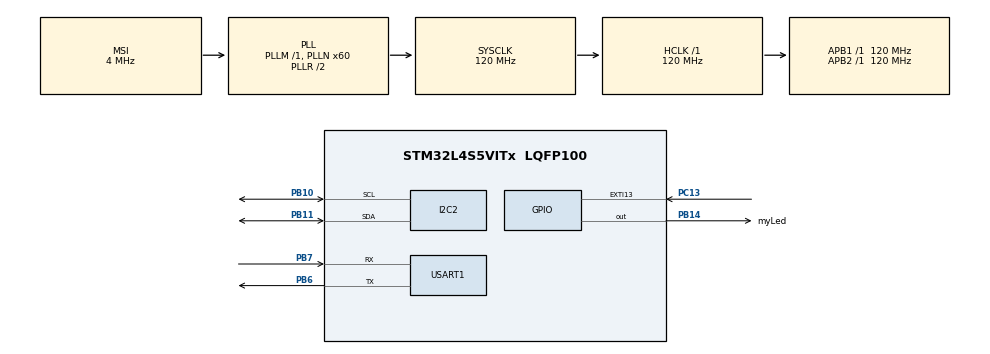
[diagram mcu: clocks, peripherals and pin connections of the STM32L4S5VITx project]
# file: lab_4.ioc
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ADC1.EnableRegularConversion=DISABLE
ADC1.master=1
FREERTOS.Tasks01=defaultTask,0,128,StartDefaultTask,Default,NULL,Dynamic,NULL,NULL;myButtonTask,-3,128,pollButton,Default,NULL,Dynamic,NULL,NULL;myReadingsTask,-3,128,readInput,Default,NULL,Dynamic,NULL,NULL
I2C2.CustomTiming=Disabled
I2C2.Timing=0x307075B1
Mcu.Family=STM32L4
Mcu.Name=STM32L4S5VITx
Mcu.Package=LQFP100
NVIC.EXTI15_10_IRQn=true\:5\:0\:false\:false\:true\:true\:true\:true\:true
NVIC.PriorityGroup=NVIC_PRIORITYGROUP_4
NVIC.TIM2_IRQn=true\:5\:0\:false\:false\:true\:true\:true\:true\:true
NVIC.TIM6_DAC_IRQn=true\:15\:0\:false\:false\:true\:false\:false\:true\:true
NVIC.TimeBase=TIM6_DAC_IRQn
NVIC.TimeBaseIP=TIM6
PA13\ (JTMS/SWDIO).Signal=SYS_JTMS-SWDIO
PB10.Mode=I2C
PB10.Signal=I2C2_SCL
PB11.Mode=I2C
PB11.Signal=I2C2_SDA
PB14.GPIO_Label=myLed
PB14.Signal=GPIO_Output
PB3\ (JTDO/TRACESWO).Signal=SYS_JTDO-SWO
PB6.Mode=Asynchronous
PB6.Signal=USART1_TX
PB7.Mode=Asynchronous
PB7.Signal=USART1_RX
PC13.Signal=GPXTI13
ProjectManager.HeapSize=0x200
ProjectManager.StackSize=0x400
ProjectManager.TargetToolchain=STM32CubeIDE
RCC.ADCFreq_Value=32000000
RCC.AHBFreq_Value=120000000
RCC.APB1Freq_Value=120000000
RCC.APB1TimFreq_Value=120000000
RCC.APB2Freq_Value=120000000
RCC.APB2TimFreq_Value=120000000
RCC.CortexFreq_Value=120000000
RCC.HCLKFreq_Value=120000000
RCC.HSE_VALUE=8000000
RCC.HSI48_VALUE=48000000
RCC.HSI_VALUE=16000000
RCC.LSE_VALUE=32768
RCC.MSI_VALUE=4000000
RCC.PLLN=60
RCC.PLLSAI1N=16
RCC.SYSCLKFreq_VALUE=120000000
RCC.SYSCLKSource=RCC_SYSCLKSOURCE_PLLCLK
RCC.USBFreq_Value=32000000
RCC.VCOOutputFreq_Value=240000000
TIM2.Period=1000
TIM2.Prescaler=120
TIM2.TIM_MasterOutputTrigger=TIM_TRGO_RESET
USART1.VirtualMode-Asynchronous=VM_ASYNC
VP_ADC1_TempSens_Input.Mode=IN-TempSens
VP_FREERTOS_VS_CMSIS_V1.Mode=CMSIS_V1
VP_SYS_VS_tim6.Mode=TIM6
VP_TIM2_VS_ClockSourceINT.Mode=Internal
board=B-L4S5I-IOT01A

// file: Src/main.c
/* USER CODE BEGIN Header */
/**
  ******************************************************************************
  * @file           : main.c
  * @brief          : Main program body
  ******************************************************************************
  * @attention
  *
  * Copyright (c) 2023 STMicroelectronics.
  * All rights reserved.
  *
  * This software is licensed under terms that can be found in the LICENSE file
  * in the root directory of this software component.
  * If no LICENSE file comes with this software, it is provided AS-IS.
  *
  ******************************************************************************
  */
/* USER CODE END Header */
#include "main.h"
#include "cmsis_os.h"

/* USER CODE BEGIN Includes */
#include <math.h>
#define ARM_MATH_CM4
#include "arm_math.h"
#include <stdio.h>
#include "stm32l4s5i_iot01_tsensor.h"
#include "stm32l4s5i_iot01.h"
#include "stm32l4s5i_iot01_gyro.h"
#include "stm32l4s5i_iot01_hsensor.h"
#include "stm32l4s5i_iot01_magneto.h"
#include "stm32l4s5i_iot01_psensor.h"

//#include "stm32l4xx_hal_adc_ex.h"

/* USER CODE END Includes */

ADC_HandleTypeDef hadc1;

I2C_HandleTypeDef hi2c2;

TIM_HandleTypeDef htim2;

UART_HandleTypeDef huart1;

osThreadId defaultTaskHandle;
osThreadId myButtonTaskHandle;
osThreadId myReadingsTaskHandle;
/* USER CODE BEGIN PV */

int selector = 0;

float temp_value;
float hum_value;
float mag_xyz[3];
float acc_xyz[3];
float gyro_xyz[3];
float baro_value;
float tof_value;
float gest_value;
char buffer[100] = ""; // used for COM communication
int enableSelector = 0;

/*
 * The following arrays are for a frequency of 65Hz, and an amplitude of 1V.
 * To adjust the amplitude, just multiply each element by a desired amplitude, A.
 */
int triangleArray[15] = {0, 530, 1060, 1590, 2120, 2650, 3180, 3710, 3180, 2650, 2120, 1590, 1060, 530, 0};
int sawtoothArray[15] = { 0,  270,  540,  810, 1080, 1350, 1620, 1890, 2160, 2430, 2700, 2970, 3240, 3510,3780};

/* USER CODE END PV */

void SystemClock_Config(void);
static void MX_GPIO_Init(void);
static void MX_ADC1_Init(void);
static void MX_TIM2_Init(void);
static void MX_I2C2_Init(void);
static void MX_USART1_UART_Init(void);
void StartDefaultTask(void const * argument);
void pollButton(void const * argument);
void readInput(void const * argument);

/* USER CODE BEGIN PFP */
void configure_channels(int i);

/* USER CODE END PFP */

/* USER CODE BEGIN 0 */

#define VREFINT ((uint16_t*)(uint32_t)0x1FFF75AA)
#define TS_CAL1 ((uint16_t*)(uint32_t)0x1FFF75A8) //TS ADC raw data acquired at a temperature of 30 °C  (AROUND 3 V)
#define TS_CAL2 ((uint16_t*)(uint32_t)0x1FFF75CA) //TS ADC raw data acquired at a temperature of 130 °C

#define TS_CAL1_TEMP ((float)30.0) //temp used to measure TS_CAL1
#define TS_CAL2_TEMP ((float) 130.0) //temp used to measure TS_CAL2

//conditional compiling

//#define I2C_TEST
//#define UART_TEST
#define BUTTON_TEST
//#define RTOS_TEST

/* USER CODE END 0 */

int main(void)
{

  /* MCU Configuration--------------------------------------------------------*/

  /* Reset of all peripherals, Initializes the Flash interface and the Systick. */
  HAL_Init();

  /* Configure the system clock */
  SystemClock_Config();

  /* Initialize all configured peripherals */
  MX_GPIO_Init();
  MX_ADC1_Init();
  MX_TIM2_Init();
  MX_I2C2_Init();
  MX_USART1_UART_Init();
  /* USER CODE BEGIN 2 */

  selector = 0; //initialize selector

  //initialize sensors
  BSP_TSENSOR_Init();
  BSP_HSENSOR_Init();
  BSP_MAGNETO_Init();
  BSP_ACCELERO_Init();
  BSP_GYRO_Init();
  BSP_PSENSOR_Init();

#ifdef RTOS_TEST
  /* USER CODE END 2 */

  /* Create the thread(s) */
  /* definition and creation of defaultTask */
  osThreadDef(defaultTask, StartDefaultTask, osPriorityNormal, 0, 128);
  defaultTaskHandle = osThreadCreate(osThread(defaultTask), NULL);

  /* definition and creation of myButtonTask */
  osThreadDef(myButtonTask, pollButton, osPriorityIdle, 0, 128);
  myButtonTaskHandle = osThreadCreate(osThread(myButtonTask), NULL);

  /* definition and creation of myReadingsTask */
  osThreadDef(myReadingsTask, readInput, osPriorityIdle, 0, 128);
  myReadingsTaskHandle = osThreadCreate(osThread(myReadingsTask), NULL);

  /* Start scheduler */
  osKernelStart();

  /* We should never get here as control is now taken by the scheduler */
  /* Infinite loop */
  /* USER CODE BEGIN WHILE */
  // HAL_TIM_Base_Start_IT(&htim6); // unsure of this line of code
#endif

#ifdef BUTTON_TEST
  HAL_TIM_Base_Start_IT(&htim2);
#endif
  while (1)
  {

    /* USER CODE END WHILE */

    /* USER CODE BEGIN 3 */
#ifdef I2C_TEST
	  temp_value = BSP_TSENSOR_ReadTemp();
	  hum_value = BSP_HSENSOR_ReadHumidity();
	  baro_value = BSP_PSENSOR_ReadPressure();
	  BSP_MAGNETO_GetXYZ(mag_xyz);
	  BSP_ACCELERO_AccGetXYZ(acc_xyz);
	  BSP_GYRO_GetXYZ(gyro_xyz);
#else
	#ifdef UART_TEST
		  temp_value = BSP_TSENSOR_ReadTemp();
		  hum_value = BSP_HSENSOR_ReadHumidity();
		  baro_value = BSP_PSENSOR_ReadPressure();
		  BSP_MAGNETO_GetXYZ(mag_xyz);
		  BSP_ACCELERO_AccGetXYZ(acc_xyz);
		  BSP_GYRO_GetXYZ(gyro_xyz);
	#endif
#endif

//	  tof_value = 0;
//	  gest_value = 0;

#ifdef I2C_TEST
	  printf("temperature: %f\n", temp_value);
	  printf("humidity: %f\n", hum_value);
	  printf("barometer: %f\n", baro_value);

	  printf("magnetometer: x: %f, y: %f, z: %f \n", mag_xyz[0], mag_xyz[1], mag_xyz[0]);
	  printf("accelerator:  x: %f, y: %f, z: %f \n", acc_xyz[0], acc_xyz[1], acc_xyz[0]);
	  printf("gyroscope:  x: %f, y: %f, z: %f \n", gyro_xyz[0], gyro_xyz[1], gyro_xyz[0]);
#endif
//	  printf("--------------------\n");
//
//	  printf("time of flight sensor value: %f\n", tof_value);
//	  printf("gesture detection sensor value: %f\n", gest_value);
#ifdef UART_TEST
	  int tmpInt1 = temp_value;
	  float tmpFrac = temp_value - tmpInt1;
	  int tmpInt2 = trunc(tmpFrac * 100);
	  snprintf(str_tmp,100,"TEMPERATURE = %d.%0.2d\n\r", tmpInt1, tmpInt2);
	  HAL_UART_Transmit(&huart1, (uint8_t *)str_tmp,sizeof(str_tmp), 1000);
#endif

	  //HAL_Delay(100);
  }

  /* USER CODE END 3 */
}

void SystemClock_Config(void)
{
  RCC_OscInitTypeDef RCC_OscInitStruct = {0};
  RCC_ClkInitTypeDef RCC_ClkInitStruct = {0};

  /** Configure the main internal regulator output voltage
  */
  if (HAL_PWREx_ControlVoltageScaling(PWR_REGULATOR_VOLTAGE_SCALE1_BOOST) != HAL_OK)
  {
    Error_Handler();
  }

  /** Initializes the RCC Oscillators according to the specified parameters
  * in the RCC_OscInitTypeDef structure.
  */
  RCC_OscInitStruct.OscillatorType = RCC_OSCILLATORTYPE_MSI;
  RCC_OscInitStruct.MSIState = RCC_MSI_ON;
  RCC_OscInitStruct.MSICalibrationValue = 0;
  RCC_OscInitStruct.MSIClockRange = RCC_MSIRANGE_6;
  RCC_OscInitStruct.PLL.PLLState = RCC_PLL_ON;
  RCC_OscInitStruct.PLL.PLLSource = RCC_PLLSOURCE_MSI;
  RCC_OscInitStruct.PLL.PLLM = 1;
  RCC_OscInitStruct.PLL.PLLN = 60;
  RCC_OscInitStruct.PLL.PLLP = RCC_PLLP_DIV2;
  RCC_OscInitStruct.PLL.PLLQ = RCC_PLLQ_DIV2;
  RCC_OscInitStruct.PLL.PLLR = RCC_PLLR_DIV2;
  if (HAL_RCC_OscConfig(&RCC_OscInitStruct) != HAL_OK)
  {
    Error_Handler();
  }

  /** Initializes the CPU, AHB and APB buses clocks
  */
  RCC_ClkInitStruct.ClockType = RCC_CLOCKTYPE_HCLK|RCC_CLOCKTYPE_SYSCLK
                              |RCC_CLOCKTYPE_PCLK1|RCC_CLOCKTYPE_PCLK2;
  RCC_ClkInitStruct.SYSCLKSource = RCC_SYSCLKSOURCE_PLLCLK;
  RCC_ClkInitStruct.AHBCLKDivider = RCC_SYSCLK_DIV1;
  RCC_ClkInitStruct.APB1CLKDivider = RCC_HCLK_DIV1;
  RCC_ClkInitStruct.APB2CLKDivider = RCC_HCLK_DIV1;

  if (HAL_RCC_ClockConfig(&RCC_ClkInitStruct, FLASH_LATENCY_5) != HAL_OK)
  {
    Error_Handler();
  }
}

static void MX_ADC1_Init(void)
{

  /** Common config
  */
  hadc1.Instance = ADC1;
  hadc1.Init.ClockPrescaler = ADC_CLOCK_ASYNC_DIV1;
  hadc1.Init.Resolution = ADC_RESOLUTION_12B;
  hadc1.Init.DataAlign = ADC_DATAALIGN_RIGHT;
  hadc1.Init.ScanConvMode = ADC_SCAN_DISABLE;
  hadc1.Init.EOCSelection = ADC_EOC_SINGLE_CONV;
  hadc1.Init.LowPowerAutoWait = DISABLE;
  hadc1.Init.ContinuousConvMode = DISABLE;
  hadc1.Init.NbrOfConversion = 1;
  hadc1.Init.DiscontinuousConvMode = DISABLE;
  hadc1.Init.DMAContinuousRequests = DISABLE;
  hadc1.Init.Overrun = ADC_OVR_DATA_PRESERVED;
  hadc1.Init.OversamplingMode = DISABLE;
  hadc1.Init.DFSDMConfig = ADC_DFSDM_MODE_ENABLE;
  if (HAL_ADC_Init(&hadc1) != HAL_OK)
  {
    Error_Handler();
  }

}

static void MX_I2C2_Init(void)
{

  hi2c2.Instance = I2C2;
  hi2c2.Init.Timing = 0x307075B1;
  hi2c2.Init.OwnAddress1 = 0;
  hi2c2.Init.AddressingMode = I2C_ADDRESSINGMODE_7BIT;
  hi2c2.Init.DualAddressMode = I2C_DUALADDRESS_DISABLE;
  hi2c2.Init.OwnAddress2 = 0;
  hi2c2.Init.OwnAddress2Masks = I2C_OA2_NOMASK;
  hi2c2.Init.GeneralCallMode = I2C_GENERALCALL_DISABLE;
  hi2c2.Init.NoStretchMode = I2C_NOSTRETCH_DISABLE;
  if (HAL_I2C_Init(&hi2c2) != HAL_OK)
  {
    Error_Handler();
  }

  /** Configure Analogue filter
  */
  if (HAL_I2CEx_ConfigAnalogFilter(&hi2c2, I2C_ANALOGFILTER_ENABLE) != HAL_OK)
  {
    Error_Handler();
  }

  /** Configure Digital filter
  */
  if (HAL_I2CEx_ConfigDigitalFilter(&hi2c2, 0) != HAL_OK)
  {
    Error_Handler();
  }

}

static void MX_TIM2_Init(void)
{

  TIM_ClockConfigTypeDef sClockSourceConfig = {0};
  TIM_MasterConfigTypeDef sMasterConfig = {0};

  htim2.Instance = TIM2;
  htim2.Init.Prescaler = 120;
  htim2.Init.CounterMode = TIM_COUNTERMODE_UP;
  htim2.Init.Period = 1000;
  htim2.Init.ClockDivision = TIM_CLOCKDIVISION_DIV1;
  htim2.Init.AutoReloadPreload = TIM_AUTORELOAD_PRELOAD_DISABLE;
  if (HAL_TIM_Base_Init(&htim2) != HAL_OK)
  {
    Error_Handler();
  }
  sClockSourceConfig.ClockSource = TIM_CLOCKSOURCE_INTERNAL;
  if (HAL_TIM_ConfigClockSource(&htim2, &sClockSourceConfig) != HAL_OK)
  {
    Error_Handler();
  }
  sMasterConfig.MasterOutputTrigger = TIM_TRGO_RESET;
  sMasterConfig.MasterSlaveMode = TIM_MASTERSLAVEMODE_DISABLE;
  if (HAL_TIMEx_MasterConfigSynchronization(&htim2, &sMasterConfig) != HAL_OK)
  {
    Error_Handler();
  }

}

static void MX_USART1_UART_Init(void)
{

  huart1.Instance = USART1;
  huart1.Init.BaudRate = 115200;
  huart1.Init.WordLength = UART_WORDLENGTH_8B;
  huart1.Init.StopBits = UART_STOPBITS_1;
  huart1.Init.Parity = UART_PARITY_NONE;
  huart1.Init.Mode = UART_MODE_TX_RX;
  huart1.Init.HwFlowCtl = UART_HWCONTROL_NONE;
  huart1.Init.OverSampling = UART_OVERSAMPLING_16;
  huart1.Init.OneBitSampling = UART_ONE_BIT_SAMPLE_DISABLE;
  huart1.Init.ClockPrescaler = UART_PRESCALER_DIV1;
  huart1.AdvancedInit.AdvFeatureInit = UART_ADVFEATURE_NO_INIT;
  if (HAL_UART_Init(&huart1) != HAL_OK)
  {
    Error_Handler();
  }
  if (HAL_UARTEx_SetTxFifoThreshold(&huart1, UART_TXFIFO_THRESHOLD_1_8) != HAL_OK)
  {
    Error_Handler();
  }
  if (HAL_UARTEx_SetRxFifoThreshold(&huart1, UART_RXFIFO_THRESHOLD_1_8) != HAL_OK)
  {
    Error_Handler();
  }
  if (HAL_UARTEx_DisableFifoMode(&huart1) != HAL_OK)
  {
    Error_Handler();
  }

}

static void MX_GPIO_Init(void)
{
  GPIO_InitTypeDef GPIO_InitStruct = {0};

  /* GPIO Ports Clock Enable */
  __HAL_RCC_GPIOC_CLK_ENABLE();
  __HAL_RCC_GPIOB_CLK_ENABLE();
  __HAL_RCC_GPIOA_CLK_ENABLE();

  /*Configure GPIO pin Output Level */
  HAL_GPIO_WritePin(myLed_GPIO_Port, myLed_Pin, GPIO_PIN_RESET);

  /*Configure GPIO pin : PC13 */
  GPIO_InitStruct.Pin = GPIO_PIN_13;
  GPIO_InitStruct.Mode = GPIO_MODE_IT_RISING;
  GPIO_InitStruct.Pull = GPIO_NOPULL;
  HAL_GPIO_Init(GPIOC, &GPIO_InitStruct);

  /*Configure GPIO pin : myLed_Pin */
  GPIO_InitStruct.Pin = myLed_Pin;
  GPIO_InitStruct.Mode = GPIO_MODE_OUTPUT_PP;
  GPIO_InitStruct.Pull = GPIO_NOPULL;
  GPIO_InitStruct.Speed = GPIO_SPEED_FREQ_LOW;
  HAL_GPIO_Init(myLed_GPIO_Port, &GPIO_InitStruct);

  /* EXTI interrupt init*/
  HAL_NVIC_SetPriority(EXTI15_10_IRQn, 5, 0);
  HAL_NVIC_EnableIRQ(EXTI15_10_IRQn);

}

/* USER CODE BEGIN 4 */

//callback function for interrupt
void HAL_GPIO_EXTI_Callback(uint16_t GPIO_Pin){
	if (GPIO_Pin == GPIO_PIN_13) { //verify pin
		HAL_GPIO_TogglePin (myLed_GPIO_Port, myLed_Pin);
#ifdef BUTTON_TEST
		printf("======================\n");
		printf("\n");
		printf("Switching...\n");
		printf("\n");
		printf("======================\n");
		selector++;
		// if selector is out of range, re-initialize to 0.
		if (selector > 3) {
			selector = 0;
		}
#endif
#ifdef RTOS_TEST
		enableSelector = 1;
#endif
	}
}

//function for printing to console (swb port 0)
int _write(int file, char *ptr, int len)
{
  (void)file;
  int DataIdx;

  for (DataIdx = 0; DataIdx < len; DataIdx++)
  {
	  ITM_SendChar(*ptr++);
  }
  return len;
}

#ifdef RTOS_TEST
/* USER CODE END 4 */

void StartDefaultTask(void const * argument)
{
  for(;;)
  {
    osDelay(1);
  }
}

void pollButton(void const * argument)
{
  /* USER CODE BEGIN pollButton */
  /* Infinite loop */
  for(;;)
  {
	  osDelay(1);
//	  uint16_t GPIO_Pin;
//	  if (GPIO_Pin == GPIO_PIN_13) { //verify pin
//	  		HAL_GPIO_TogglePin (myLed_GPIO_Port, myLed_Pin);
//
//	  		// if selector is out of range, re-initialize to 0.
//	  		selector++;
//	  		if (selector > 5) {
//	  			selector = 0;
//	  		}
//	  	  }
	  if (enableSelector == 1) {
		  enableSelector = 0;
		  selector++;
		  if (selector > 3) {
			  selector = 0;
		  }
	  }
  }
  /* USER CODE END pollButton */
}

void readInput(void const * argument)
{
  /* USER CODE BEGIN readInput */
  /* Infinite loop */
  for(;;)
  {
	  osDelay(100);

	  switch(selector) {
	  		case 0:
	  			temp_value = BSP_TSENSOR_ReadTemp();
	  			int tmpInt1 = temp_value;
	  			float tmpFrac = temp_value - tmpInt1;
	  			int tmpInt2 = trunc(tmpFrac * 100);
	  			snprintf(buffer, 100, "TEMPERATURE: %d.%02d degrees\n\r", tmpInt1, tmpInt2);
	  			HAL_UART_Transmit(&huart1, (uint8_t *)buffer, strlen(buffer), HAL_MAX_DELAY);
	  			break;
	  		case 1:
	  			hum_value = BSP_HSENSOR_ReadHumidity();
	  			int humInt1 = hum_value;
	  			float humFrac = hum_value - tmpInt1;
	  			int humInt2 = trunc(humFrac * 100);
				snprintf(buffer, 100, "HUMIDITY: %d.%02d %\n\r", humInt1, humInt2);
	  			HAL_UART_Transmit(&huart1, (uint8_t *)buffer, strlen(buffer), HAL_MAX_DELAY);
	  			break;
	  		case 2:
	  			baro_value = BSP_PSENSOR_ReadPressure();
	  			int baroInt1 = baro_value;
	  			float baroFrac = baro_value - baroInt1;
	  			int baroInt2 = trunc(baroFrac * 100);
	  			snprintf(buffer, 100, "PRESSURE: %d.%02d Pa\n\r", baroInt1, baroInt2);
	  			HAL_UART_Transmit(&huart1, (uint8_t *)buffer, strlen(buffer), HAL_MAX_DELAY);
	  			break;
//	  		case 3:
//	  			BSP_MAGNETO_GetXYZ(mag_xyz);
//	  			int magX1 = mag_xyz[0];
//	  			int magX2 = trunc((mag_xyz[0]-(int)mag_xyz[0])*100);
//	  			int magY1 = mag_xyz[1];
//	  		    int magY2 = trunc((mag_xyz[1]-(int)mag_xyz[1])*100);
//	  		    int magZ1 = mag_xyz[2];
//	  		  	int magZ2 = trunc((mag_xyz[2]-(int)mag_xyz[2])*100);
//	  		    snprintf(buffer, 100, "MAGNETIC FIELD STRENGHT: %d.%02d, %d.%02d, %d.%02d GAUSS.\n\r", magX1, magX2, magY1, magY2, magZ1, magZ2);
//	  		  	HAL_UART_Transmit(&huart1, (uint8_t *)buffer, strlen(buffer), HAL_MAX_DELAY);
//	  			break;
//	  		case 4:
//	  			BSP_ACCELERO_AccGetXYZ(acc_xyz);
//	  			int accX1 = acc_xyz[0];
//	  			int accX2 = trunc((acc_xyz[0]-(int)acc_xyz[0])*100);
//	  			int accY1 = acc_xyz[1];
//	  			int accY2 = trunc((acc_xyz[1]-(int)acc_xyz[1])*100);
//	  			int accZ1 = acc_xyz[2];
//	  			int accZ2 = trunc((acc_xyz[2]-(int)acc_xyz[2])*100);
//	  			snprintf(buffer, 100, "ACCELERATION: %d.%02d, %d.%02d, %d.%02d\n\r", accX1, accX2, accY1, accY2, accZ1, accZ2);
//	  			HAL_UART_Transmit(&huart1, (uint8_t *)buffer, strlen(buffer), HAL_MAX_DELAY);
//	  			break;
	  		case 3:
	  			BSP_GYRO_GetXYZ(gyro_xyz);
	  			int gyroX1 = gyro_xyz[0];
	  			int gyroX2 = trunc((gyro_xyz[0]-(int)gyro_xyz[0])*100);
	  			int gyroY1 = gyro_xyz[1];
	  			int gyroY2 = trunc((gyro_xyz[1]-(int)gyro_xyz[1])*100);
	  			int gyroZ1 = gyro_xyz[2];
	  			int gyroZ2 = trunc((gyro_xyz[2]-(int)gyro_xyz[2])*100);
	  			snprintf(buffer, 100, "ANGULAR VELOCITY: %d.%02d, %d.%02d, %d.%02d Deg/s\n\r", gyroX1, gyroX2, gyroY1, gyroY2, gyroZ1, gyroZ2);
	  			HAL_UART_Transmit(&huart1, (uint8_t *)buffer, strlen(buffer), HAL_MAX_DELAY);
	  			break;
	  		default:
	  			//printf("Selector not in range. Error.\n");
	  			break;
	  		}
  }
  /* USER CODE END readInput */
}

#endif

void HAL_TIM_PeriodElapsedCallback(TIM_HandleTypeDef *htim)
{
  /* USER CODE BEGIN Callback 0 */
#ifdef RTOS_TEST
  /* USER CODE END Callback 0 */
  if (htim->Instance == TIM6) {
    HAL_IncTick();
  }
  /* USER CODE BEGIN Callback 1 */
#endif
#ifdef BUTTON_TEST
  if (htim->Instance == TIM2) {
	  switch(selector) {
	  	  		case 0:
	  	  			temp_value = BSP_TSENSOR_ReadTemp();
	  	  			printf("temperature: %f\n", temp_value);
	  	  			break;
	  	  		case 1:
	  	  			hum_value = BSP_HSENSOR_ReadHumidity();
	  	  			printf("humidity: %f\n", hum_value);
	  	  			break;
	  	  		case 2:
	  	  			baro_value = BSP_PSENSOR_ReadPressure();
	  	  			printf("barometer sensor value: %f\n", baro_value);
	  	  			break;
//	  	  		case 3:
//	  	  			BSP_MAGNETO_GetXYZ(mag_xyz);
//	  	  			printf("magnetometer -> x: %f\, y: %f, z: %f\n", mag_xyz[0], mag_xyz[1], mag_xyz[2]);
//	  	  			break;
//	  	  		case 4:
//	  	  			BSP_ACCELERO_AccGetXYZ(acc_xyz);
//	  	  			printf("accelerometer -> x: %f\, y: %f, z: %f\n", acc_xyz[0], acc_xyz[1], acc_xyz[2]);
//	  	  			break;
	  	  		case 3:
	  	  			BSP_GYRO_GetXYZ(gyro_xyz);
	  	  			printf("gyroscope -> x: %f\, y: %f, z: %f\n", gyro_xyz[0], gyro_xyz[1], gyro_xyz[2]);
	  	  			break;
	  	  		default:
	  	  			printf("Selector not in range. Error.\n");
	  	  		}

  }
#endif
  /* USER CODE END Callback 1 */
}

void Error_Handler(void)
{
  __disable_irq();
  while (1)
  {
  }
}
